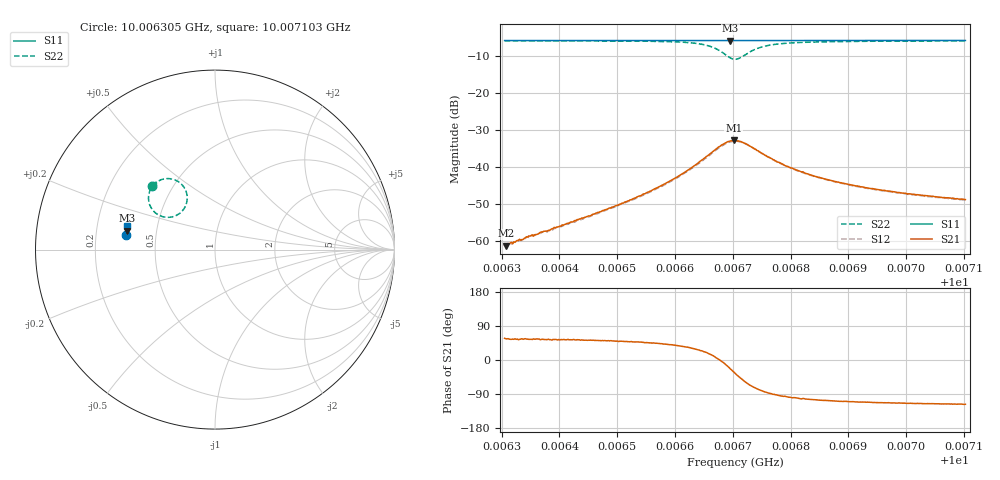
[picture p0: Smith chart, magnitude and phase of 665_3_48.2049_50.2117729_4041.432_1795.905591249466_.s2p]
#  HZ  S  RI  R  50.00
! Rohde & Schwarz Vector Network Analyzer
! Rohde-Schwarz,ZNB20-2Port,1311601062101988,3.16
! Created: UTC 3/20/2024, 12:05:54 PM
! freq[Hz]  re:S11  im:S11  re:S21  im:S21  re:S12  im:S12  re:S22  im:S22
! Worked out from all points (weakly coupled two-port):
!   401 points, 10.006305 GHz to 10.007103 GHz, reference 50 ohm
!   highest |S21| = -32.89 dB at 10.006702 GHz (marker M1); lowest = -61.3 dB at 10.006307 GHz (marker M2)
!   lowest |S11| = -6.0 dB at 10.006696 GHz (marker M3), VSWR 3.02, Z = 16.7 + j4.68 ohm
!   |S11| at or under -10 dB: nowhere
!   |S22| runs from -11.0 to -6.0 dB; largest |S21 - S12| = 0.0019
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1.0006305e10  -0.4975 0.0798  0.000474 0.000739  0.000445 0.000728  -0.3499 0.3568
1.0006307e10  -0.4974 0.0799  0.000483 0.000717  0.000459 0.000761  -0.3497 0.357
1.00064386e10  -0.4962 0.0886  0.00123 0.00164  0.00112 0.00162  -0.3354 0.3699
1.00065204e10  -0.4953 0.0941  0.00233 0.00261  0.00217 0.00268  -0.319 0.381
1.00065723e10  -0.4946 0.0974  0.00389 0.00372  0.00362 0.00381  -0.2994 0.3896
1.00066161e10  -0.4939 0.1004  0.00686 0.00484  0.00643 0.00508  -0.2671 0.3956
1.0006652e10  -0.493 0.1028  0.0123 0.00477  0.0118 0.00527  -0.2142 0.3841
1.0006674e10  -0.492 0.1041  0.0181 0.00106  0.0174 0.00227  -0.1688 0.3409
1.00066859e10  -0.4915 0.1045  0.0204 -0.00346  0.0201 -0.00204  -0.1549 0.2925
1.00066959e10  -0.4913 0.1046  0.0204 -0.00896  0.0205 -0.0073  -0.1642 0.2433
1.00067019e10  -0.4913 0.1046  0.0193 -0.012  0.0197 -0.0102  -0.1815 0.2164
1.00067039e10  -0.4913 0.1045  0.0186 -0.0129  0.0191 -0.0113  -0.1892 0.2085
1.00067119e10  -0.4917 0.1047  0.0154 -0.0158  0.0162 -0.0146  -0.2247 0.1865
1.00067218e10  -0.4916 0.105  0.0109 -0.0176  0.0119 -0.0165  -0.2709 0.1798
1.00067358e10  -0.4922 0.1059  0.00567 -0.017  0.00663 -0.0166  -0.3199 0.1961
1.00067498e10  -0.4924 0.1067  0.00243 -0.0151  0.00312 -0.0149  -0.3479 0.2211
1.00067936e10  -0.4922 0.1101  -0.00118 -0.0101  -0.000753 -0.0102  -0.3703 0.2798
1.00068375e10  -0.4918 0.1131  -0.00191 -0.00744  -0.0015 -0.00743  -0.3682 0.3091
1.00069013e10  -0.4911 0.1173  -0.00197 -0.00543  -0.00166 -0.00546  -0.3613 0.3315
1.00069711e10  -0.4903 0.122  -0.00184 -0.00433  -0.00157 -0.00436  -0.3543 0.3451
1.00070349e10  -0.4894 0.1259  -0.00175 -0.00369  -0.00154 -0.00373  -0.349 0.3535
1.00071028e10  -0.4883 0.1304  -0.00163 -0.00323  -0.00146 -0.00328  -0.3438 0.3604
